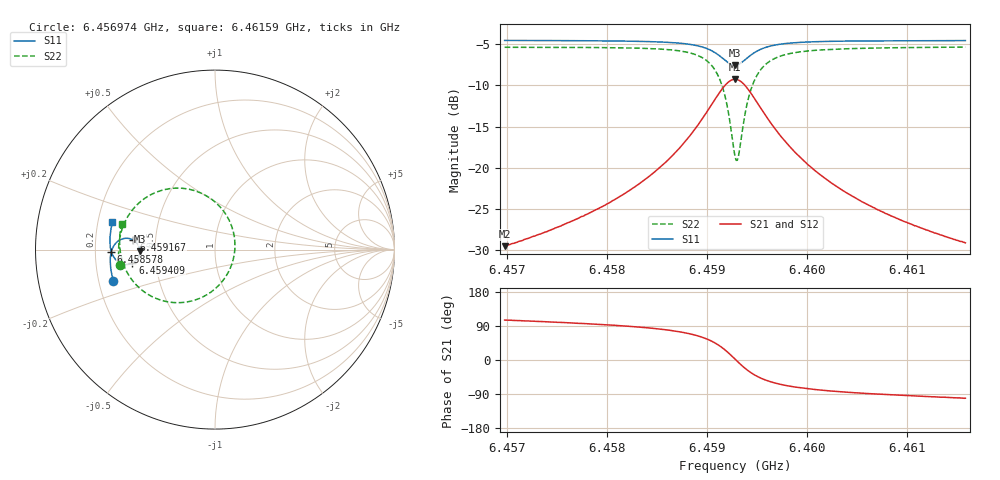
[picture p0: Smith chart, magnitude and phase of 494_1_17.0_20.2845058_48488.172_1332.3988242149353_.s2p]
#  HZ  S  RI  R  50.00
! Rohde & Schwarz Vector Network Analyzer
! Rohde-Schwarz,ZNB20-2Port,1311601062101988,3.16
! Created: UTC 3/20/2024, 11:14:12 PM
! freq[Hz]  re:S11  im:S11  re:S21  im:S21  re:S12  im:S12  re:S22  im:S22
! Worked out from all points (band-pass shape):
!   401 points, 6.456974 GHz to 6.46159 GHz, reference 50 ohm
!   highest |S21| = -9.26 dB at 6.459282 GHz (marker M1); lowest = -29.5 dB at 6.456974 GHz (marker M2)
!   |S21| within 3 dB of the highest: 6.459052 GHz to 6.459513 GHz (461.3 kHz wide, 0.00714 % of centre)
!   lowest |S11| = -7.6 dB at 6.459282 GHz (marker M3), VSWR 2.44, Z = 20.5 - j0.49 ohm
!   |S11| at or under -10 dB: nowhere
!   |S22| runs from -19.1 to -5.4 dB; largest |S21 - S12| = 0.013
!   S11 on the Smith chart (normalised r, x): 6.456974 GHz: 0.26, -0.14; 6.458578 GHz: 0.27, -0.01; 6.459167 GHz: 0.37, +0.05; 6.459409 GHz: 0.37, -0.07; 6.46159 GHz: 0.26, +0.12
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6.4569742e9  -0.5666 -0.1724  -0.00886 0.0323  -0.00719 0.0322  -0.5317 -0.0853
6.4577473e9  -0.5807 -0.1048  -0.00561 0.0504  -0.0031 0.0496  -0.5371 0.00502
6.4581512e9  -0.5835 -0.0645  -0.000204 0.0683  0.003 0.0669  -0.5301 0.0681
6.4585204e9  -0.5798 -0.021  0.014 0.0983  0.0181 0.0957  -0.5039 0.1501
6.4585781e9  -0.5781 -0.013  0.0183 0.1053  0.0225 0.1022  -0.4959 0.1666
6.4587858e9  -0.5651 0.0191  0.0457 0.1375  0.05 0.1326  -0.4444 0.2394
6.4589358e9  -0.5425 0.0454  0.0908 0.1679  0.0941 0.1613  -0.3613 0.3037
6.4590743e9  -0.4989 0.0631  0.1777 0.1845  0.1787 0.1771  -0.2026 0.3426
6.4591666e9  -0.4545 0.0529  0.2673 0.1536  0.2676 0.1476  -0.0366 0.2928
6.4592128e9  -0.4334 0.0341  0.3108 0.1109  0.3121 0.1056  0.0461 0.2168
6.459282e9  -0.4187 -0.00986  0.3442 0.0142  0.3477 0.00729  0.1111 0.0373
6.4592936e9  -0.4192 -0.0179  0.344 -0.00346  0.3479 -0.011  0.1109 0.00389
6.4593166e9  -0.4225 -0.0334  0.3384 -0.0379  0.3423 -0.0471  0.0999 -0.0618
6.4593628e9  -0.438 -0.0593  0.31 -0.0978  0.3121 -0.1097  0.0425 -0.1747
6.459409e9  -0.46 -0.0756  0.2682 -0.1387  0.2673 -0.152  -0.0423 -0.2496
6.4595013e9  -0.5032 -0.0823  0.1836 -0.1699  0.1775 -0.1814  -0.2108 -0.2957
6.4596513e9  -0.547 -0.0619  0.0957 -0.156  0.0875 -0.1622  -0.3779 -0.2465
6.4598128e9  -0.5684 -0.0342  0.0512 -0.1283  0.0437 -0.131  -0.4582 -0.1746
6.4600552e9  -0.581 0.00134  0.0222 -0.0968  0.0164 -0.0975  -0.5061 -0.0923
6.4604244e9  -0.5856 0.0448  0.0056 -0.0688  0.00157 -0.0683  -0.528 -0.00892
6.4608283e9  -0.5834 0.0853  -0.00134 -0.0517  -0.00425 -0.0508  -0.5316 0.0549
6.4615899e9  -0.5712 0.1526  -0.00659 -0.0344  -0.00821 -0.0335  -0.5202 0.1447
